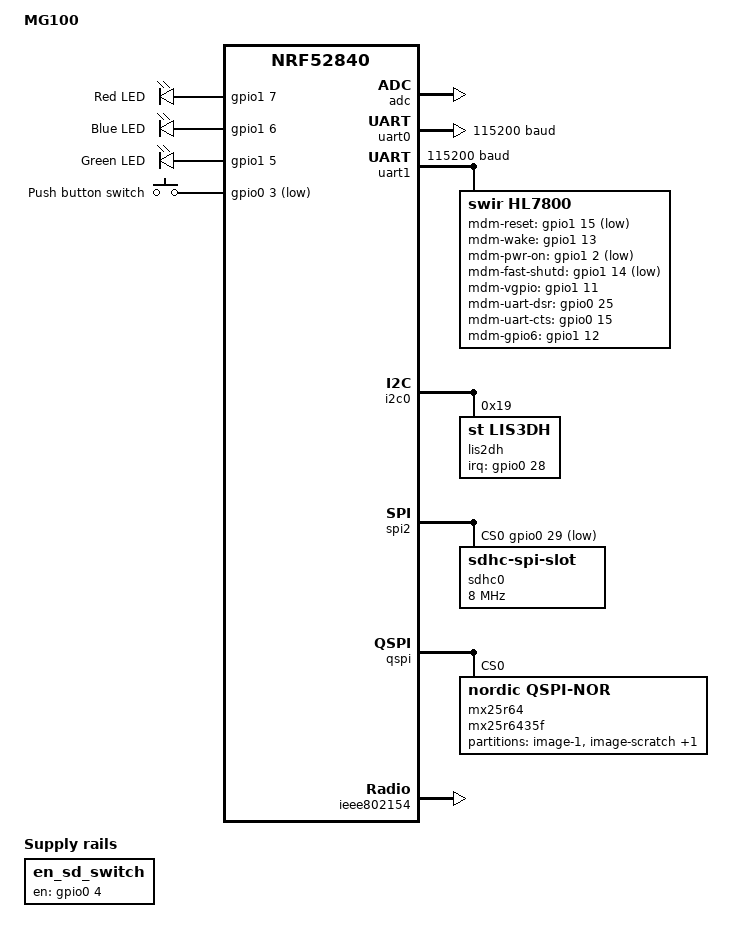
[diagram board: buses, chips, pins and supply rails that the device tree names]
/*
 * Copyright (c) 2022 Laird Connectivity
 * Copyright (c) 2024 Ezurio
 *
 * SPDX-License-Identifier: Apache-2.0
 */

/dts-v1/;
#include <nordic/nrf52840_qiaa.dtsi>
#include "mg100-pinctrl.dtsi"
#include <zephyr/dt-bindings/input/input-event-codes.h>

/ {
	model = "MG100";
	compatible = "ezurio,mg100";

	chosen {
		zephyr,console = &uart0;
		zephyr,shell-uart = &uart0;
		zephyr,uart-mcumgr = &uart0;
		zephyr,bt-mon-uart = &uart0;
		zephyr,sram = &sram0;
		zephyr,flash = &flash0;
		zephyr,code-partition = &slot0_partition;
		zephyr,ieee802154 = &ieee802154;
	};

	leds {
		compatible = "gpio-leds";
		led1: led_1 {
			gpios = <&gpio1 7 GPIO_ACTIVE_HIGH>;
			label = "Red LED";
		};
		led2: led_2 {
			gpios = <&gpio1 6 GPIO_ACTIVE_HIGH>;
			label = "Blue LED";
		};
		led3: led_3 {
			gpios = <&gpio1 5 GPIO_ACTIVE_HIGH>;
			label = "Green LED";
		};
	};

	buttons {
		compatible = "gpio-keys";
		button1: button_1 {
			gpios = <&gpio0 3 (GPIO_PULL_UP | GPIO_ACTIVE_LOW)>;
			label = "Push button switch";
			zephyr,code = <INPUT_KEY_0>;
		};
	};

	en-sd-switch {
		compatible = "regulator-fixed";
		regulator-name = "en_sd_switch";
		enable-gpios = <&gpio0 4 GPIO_ACTIVE_HIGH>;
		regulator-boot-on;
	};

	/* These aliases are provided for compatibility with samples */
	aliases {
		led0 = &led1;
		led1 = &led2;
		led2 = &led3;
		sw0 = &button1;
		mcuboot-button0 = &button1;
		mcuboot-led0 = &led1;
		watchdog0 = &wdt0;
	};
};

&adc {
	status = "okay";
};

&uicr {
	gpio-as-nreset;
};

&gpiote {
	status = "okay";
};

&gpio0 {
	status = "okay";
};

&gpio1 {
	status = "okay";
};

&uart0 {
	compatible = "nordic,nrf-uart";
	status = "okay";
	current-speed = <115200>;
	pinctrl-0 = <&uart0_default>;
	pinctrl-1 = <&uart0_sleep>;
	pinctrl-names = "default", "sleep";
};

&uart1 {
	compatible = "nordic,nrf-uarte";
	status = "okay";
	current-speed = <115200>;
	hw-flow-control;
	pinctrl-0 = <&uart1_default>;
	pinctrl-1 = <&uart1_sleep>;
	pinctrl-names = "default", "sleep";
	hl7800: hl7800 {
		compatible = "swir,hl7800";
		status = "okay";
		mdm-reset-gpios = <&gpio1 15 (GPIO_OPEN_DRAIN | GPIO_ACTIVE_LOW)>;
		mdm-wake-gpios = <&gpio1 13 (GPIO_OPEN_SOURCE | GPIO_ACTIVE_HIGH)>;
		mdm-pwr-on-gpios = <&gpio1 2 (GPIO_OPEN_DRAIN | GPIO_ACTIVE_LOW)>;
		mdm-fast-shutd-gpios = <&gpio1 14 (GPIO_OPEN_DRAIN | GPIO_ACTIVE_LOW)>;
		mdm-vgpio-gpios = <&gpio1 11 0>;
		mdm-uart-dsr-gpios = <&gpio0 25 0>;
		mdm-uart-cts-gpios = <&gpio0 15 0>;
		mdm-gpio6-gpios = <&gpio1 12 0>;
	};
};

&i2c0 {
	compatible = "nordic,nrf-twim";
	status = "okay";

	pinctrl-0 = <&i2c0_default>;
	pinctrl-1 = <&i2c0_sleep>;
	pinctrl-names = "default", "sleep";
	lis2dh@19 {
		compatible = "st,lis3dh", "st,lis2dh";
		status = "okay";
		reg = <0x19>;
		irq-gpios = <&gpio0 28 GPIO_ACTIVE_HIGH>;
		anym-on-int1;
	};
};

&spi2 {
	compatible = "nordic,nrf-spim";
	status = "okay";
	pinctrl-0 = <&spi2_default>;
	pinctrl-1 = <&spi2_sleep>;
	pinctrl-names = "default", "sleep";
	cs-gpios = <&gpio0 29 GPIO_ACTIVE_LOW>;
	sdhc0: sdhc@0 {
		compatible = "zephyr,sdhc-spi-slot";
		status = "okay";
		reg = <0>;
		spi-max-frequency = <8000000>;
		mmc {
			compatible = "zephyr,sdmmc-disk";
			status = "okay";
		};
	};
};

&qspi {
	status = "okay";
	pinctrl-0 = <&qspi_default>;
	pinctrl-1 = <&qspi_sleep>;
	pinctrl-names = "default", "sleep";
	mx25r64: mx25r6435f@0 {
		compatible = "nordic,qspi-nor";
		reg = <0>;
		writeoc = "pp4io";
		readoc = "read4io";
		sck-frequency = <8000000>;
		jedec-id = [ c2 28 17  ];
		size = <67108864>;
		has-dpd;
		t-enter-dpd = <10000>;
		t-exit-dpd = <35000>;
	};
};

&ieee802154 {
	status = "okay";
};

&flash0 {
	partitions {
		compatible = "fixed-partitions";
		#address-cells = <1>;
		#size-cells = <1>;

		/* 96K */
		boot_partition: partition@0 {
			label = "mcuboot";
			reg = <0x00000000 0x00018000>;
		};
		/* 896K */
		slot0_partition: partition@18000 {
			label = "image-0";
			reg = <0x00018000 0x000E0000>;
		};

		/*
		 * The flash starting at 0x000f8000 and ending at
		 * 0x000fffff is reserved for use by the application.
		 */

		/*
		 * Storage partition will be used by FCB/NVS
		 * if enabled. 32K
		 */
		storage_partition: partition@f8000 {
			label = "storage";
			reg = <0x000f8000 0x00008000>;
		};
	};
};

&mx25r64 {
	partitions {
		compatible = "fixed-partitions";
		#address-cells = <1>;
		#size-cells = <1>;

		/* 896K */
		slot1_partition: partition@0 {
			label = "image-1";
			reg = <0x00000000 0x000E0000>;
		};
		/* 128K */
		scratch_partition: partition@E0000 {
			label = "image-scratch";
			reg = <0x000E0000 0x00020000>;
		};
		/* 7MB */
		lfs_partition: partition@100000 {
			label = "lfs_storage";
			reg = <0x00100000 0x00700000>;
		};
	};
};
